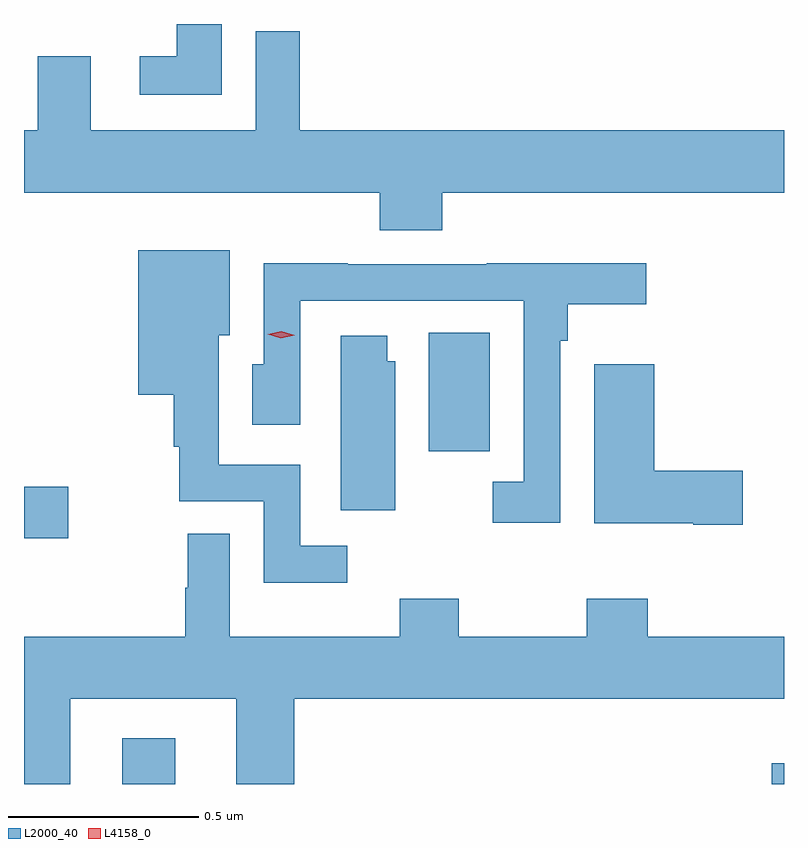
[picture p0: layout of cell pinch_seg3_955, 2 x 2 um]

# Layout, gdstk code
import gdstk
lib = gdstk.Library(unit=1e-6, precision=1e-09)
def R(c, l, rs):  # rectangles x0, y0, x1, y1
    for r in rs: c.add(gdstk.rectangle(r[:2], r[2:], *l))
def P(c, l, *ps):  # polygons
    for p in ps: c.add(gdstk.Polygon(p, *l))
L2000_40 = (2000, 40)
L4158_0 = (4158, 0)

pinch_seg3_955 = lib.new_cell('pinch_seg3_955')
R(pinch_seg3_955, L2000_40, [(568.139,708.684,568.279,708.805), (569.849,708.684,569.881,708.739), (567.881,709.331,567.997,709.466), (568.946,709.56,569.107,709.871)])
P(pinch_seg3_955, L2000_40, [(568.402,710.684),(568.283,710.684),(568.283,710.599),(568.185,710.599),(568.185,710.498),(568.402,710.498)],
  [(568.982,710.24),(569.881,710.24),(569.881,710.404),(568.607,710.404),(568.607,710.665),(568.491,710.665),(568.491,710.404),(568.057,710.404),(568.057,710.599),(567.917,710.599),(567.917,710.404),(567.881,710.404),(567.881,710.24),(568.817,710.24),(568.817,710.141),(568.982,710.141)],
  [(568.732,709.311),(568.608,709.311),(568.608,709.524),(568.393,709.524),(568.393,709.865),(568.423,709.865),(568.423,710.089),(568.181,710.089),(568.181,709.709),(568.275,709.709),(568.275,709.572),(568.29,709.572),(568.29,709.428),(568.512,709.428),(568.512,709.214),(568.732,709.214)],
  [(569.292,709.85),(569.312,709.85),(569.312,709.946),(569.518,709.946),(569.518,710.054),(569.099,710.054),(569.099,710.052),(568.733,710.052),(568.733,710.054),(568.512,710.054),(568.512,709.788),(568.481,709.788),(568.481,709.629),(568.608,709.629),(568.608,709.956),(569.196,709.956),(569.196,709.479),(569.115,709.479),(569.115,709.371),(569.292,709.371)],
  [(568.858,709.797),(568.837,709.797),(568.837,709.864),(568.715,709.864),(568.715,709.404),(568.858,709.404)],
  [(569.773,709.508),(569.54,709.508),(569.54,709.789),(569.381,709.789),(569.381,709.37),(569.642,709.37),(569.642,709.366),(569.773,709.366)],
  [(568.003,708.908),(568.439,708.908),(568.439,708.684),(568.592,708.684),(568.592,708.908),(569.881,708.908),(569.881,709.072),(569.522,709.072),(569.522,709.171),(569.362,709.171),(569.362,709.072),(569.025,709.072),(569.025,709.171),(568.87,709.171),(568.87,709.072),(568.423,709.072),(568.423,709.343),(568.312,709.343),(568.312,709.2),(568.305,709.2),(568.305,709.072),(567.881,709.072),(567.881,708.684),(568.003,708.684)])
P(pinch_seg3_955, L4158_0, [(568.557,709.857),(568.522,709.868),(568.522,709.868),(568.522,709.868),(568.558,709.876),(568.594,709.865),(568.594,709.865),(568.594,709.865)])

lib.write_gds('pinch_seg3_955.gds')
